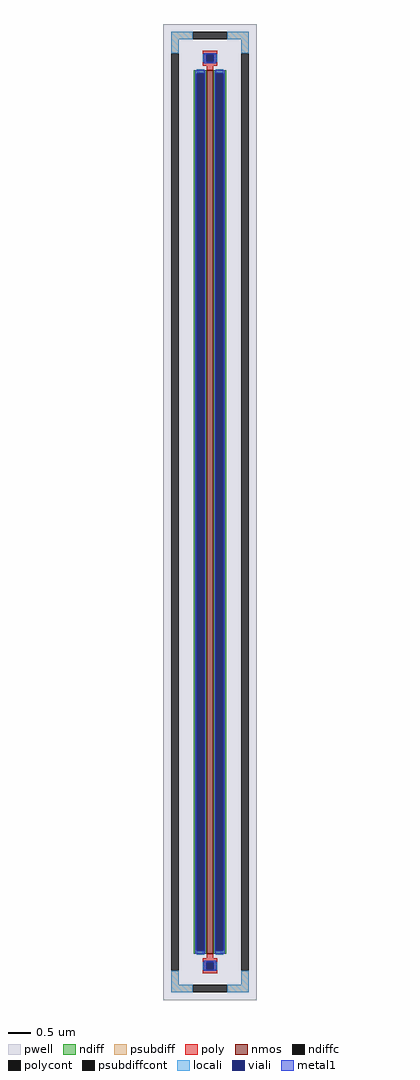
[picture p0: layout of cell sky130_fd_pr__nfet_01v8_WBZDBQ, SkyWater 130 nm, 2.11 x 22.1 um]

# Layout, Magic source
magic
tech sky130A
magscale 1 2
<< pwell >>
rect -211 -2210 211 2210
<< nmos >>
rect -15 -2000 15 2000
<< ndiff >>
rect -73 1988 -15 2000
rect -73 -1988 -61 1988
rect -27 -1988 -15 1988
rect -73 -2000 -15 -1988
rect 15 1988 73 2000
rect 15 -1988 27 1988
rect 61 -1988 73 1988
rect 15 -2000 73 -1988
<< ndiffc >>
rect -61 -1988 -27 1988
rect 27 -1988 61 1988
<< psubdiff >>
rect -175 2140 -79 2174
rect 79 2140 175 2174
rect -175 2078 -141 2140
rect 141 2078 175 2140
rect -175 -2140 -141 -2078
rect 141 -2140 175 -2078
rect -175 -2174 -79 -2140
rect 79 -2174 175 -2140
<< psubdiffcont >>
rect -79 2140 79 2174
rect -175 -2078 -141 2078
rect 141 -2078 175 2078
rect -79 -2174 79 -2140
<< poly >>
rect -33 2072 33 2088
rect -33 2038 -17 2072
rect 17 2038 33 2072
rect -33 2022 33 2038
rect -15 2000 15 2022
rect -15 -2022 15 -2000
rect -33 -2038 33 -2022
rect -33 -2072 -17 -2038
rect 17 -2072 33 -2038
rect -33 -2088 33 -2072
<< polycont >>
rect -17 2038 17 2072
rect -17 -2072 17 -2038
<< locali >>
rect -175 2140 -79 2174
rect 79 2140 175 2174
rect -175 2078 -141 2140
rect 141 2078 175 2140
rect -33 2038 -17 2072
rect 17 2038 33 2072
rect -61 1988 -27 2004
rect -61 -2004 -27 -1988
rect 27 1988 61 2004
rect 27 -2004 61 -1988
rect -33 -2072 -17 -2038
rect 17 -2072 33 -2038
rect -175 -2140 -141 -2078
rect 141 -2140 175 -2078
rect -175 -2174 -79 -2140
rect 79 -2174 175 -2140
<< viali >>
rect -17 2038 17 2072
rect -61 -1988 -27 1988
rect 27 -1988 61 1988
rect -17 -2072 17 -2038
<< metal1 >>
rect -29 2072 29 2078
rect -29 2038 -17 2072
rect 17 2038 29 2072
rect -29 2032 29 2038
rect -67 1988 -21 2000
rect -67 -1988 -61 1988
rect -27 -1988 -21 1988
rect -67 -2000 -21 -1988
rect 21 1988 67 2000
rect 21 -1988 27 1988
rect 61 -1988 67 1988
rect 21 -2000 67 -1988
rect -29 -2038 29 -2032
rect -29 -2072 -17 -2038
rect 17 -2072 29 -2038
rect -29 -2078 29 -2072
<< properties >>
string FIXED_BBOX -158 -2157 158 2157
string gencell sky130_fd_pr__nfet_01v8
string library sky130
string parameters w 20.0 l 0.15 m 1 nf 1 diffcov 100 polycov 100 guard 1 glc 1 grc 1 gtc 1 gbc 1 tbcov 100 rlcov 100 topc 1 botc 1 poverlap 0 doverlap 1 lmin 0.15 wmin 0.42 compatible {sky130_fd_pr__nfet_01v8 sky130_fd_pr__nfet_01v8_lvt  sky130_fd_bs_flash__special_sonosfet_star  sky130_fd_pr__nfet_g5v0d10v5 sky130_fd_pr__nfet_05v0_nvt  sky130_fd_pr__nfet_03v3_nvt} full_metal 1 viasrc 100 viadrn 100 viagate 100 viagb 0 viagr 0 viagl 0 viagt 0
<< end >>
